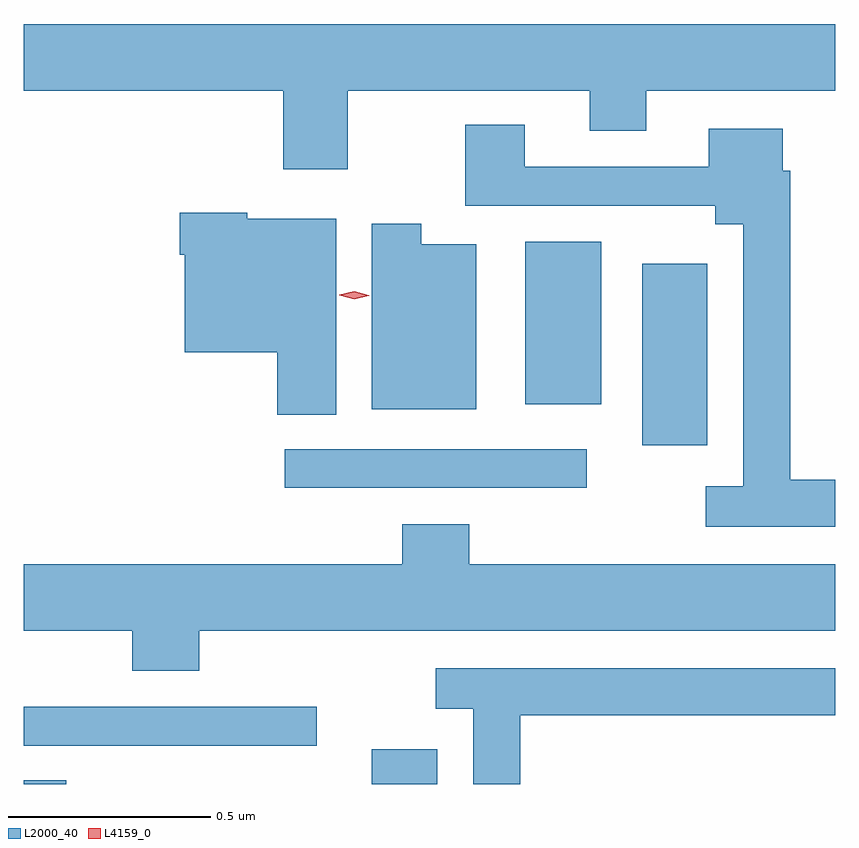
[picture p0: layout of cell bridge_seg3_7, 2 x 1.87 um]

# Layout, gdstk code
import gdstk
lib = gdstk.Library(unit=1e-6, precision=1e-09)
def R(c, l, rs):  # rectangles x0, y0, x1, y1
    for r in rs: c.add(gdstk.rectangle(r[:2], r[2:], *l))
def P(c, l, *ps):  # polygons
    for p in ps: c.add(gdstk.Polygon(p, *l))
L2000_40 = (2000, 40)
L4159_0 = (4159, 0)

bridge_seg3_7 = lib.new_cell('bridge_seg3_7')
R(bridge_seg3_7, L2000_40, [(699.746,728.51,699.85,728.519), (700.604,728.51,700.765,728.596), (699.746,728.604,700.468,728.7), (700.389,729.24,701.134,729.336), (701.27,729.345,701.431,729.793), (700.982,729.446,701.17,729.847)])
P(bridge_seg3_7, L2000_40, [(700.545,730.22),(701.141,730.22),(701.141,730.121),(701.281,730.121),(701.281,730.22),(701.746,730.22),(701.746,730.384),(699.746,730.384),(699.746,730.22),(700.385,730.22),(700.385,730.026),(700.545,730.026)],
  [(701.746,729.26),(701.636,729.26),(701.636,730.022),(701.617,730.022),(701.617,730.126),(701.435,730.126),(701.435,730.032),(700.981,730.032),(700.981,730.135),(700.834,730.135),(700.834,729.936),(701.45,729.936),(701.45,729.89),(701.52,729.89),(701.52,729.244),(701.427,729.244),(701.427,729.144),(701.746,729.144)],
  [(700.516,729.904),(700.296,729.904),(700.296,729.919),(700.13,729.919),(700.13,729.815),(700.142,729.815),(700.142,729.575),(700.37,729.575),(700.37,729.421),(700.516,729.421)],
  [(700.861,729.841),(700.726,729.841),(700.726,729.892),(700.604,729.892),(700.604,729.434),(700.861,729.434)],
  [(700.178,728.888),(701.746,728.888),(701.746,729.052),(700.844,729.052),(700.844,729.151),(700.679,729.151),(700.679,729.052),(699.746,729.052),(699.746,728.888),(700.013,728.888),(700.013,728.789),(700.178,728.789)],
  [(700.97,728.68),(701.746,728.68),(701.746,728.796),(700.761,728.796),(700.761,728.696),(700.854,728.696),(700.854,728.51),(700.97,728.51)])
P(bridge_seg3_7, L4159_0, [(700.56,729.705),(700.524,729.715),(700.524,729.716),(700.524,729.716),(700.56,729.725),(700.596,729.715),(700.597,729.714),(700.596,729.714)])

lib.write_gds('bridge_seg3_7.gds')
